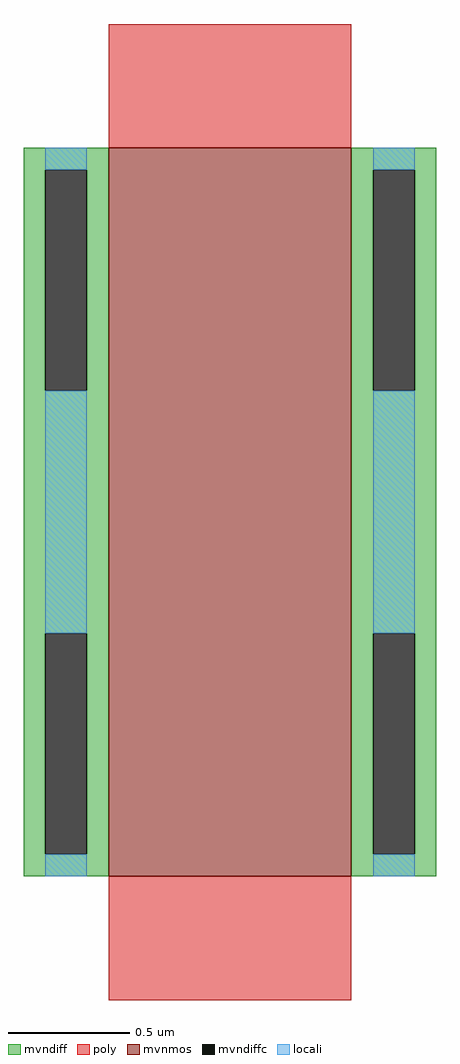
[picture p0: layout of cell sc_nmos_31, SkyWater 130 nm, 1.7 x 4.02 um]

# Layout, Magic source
magic
tech sky130A
<< mvnmos >>
rect 225 601 325 901
<< mvndiff >>
rect 190 892 225 901
rect 190 801 199 892
rect 216 801 225 892
rect 190 701 225 801
rect 190 610 199 701
rect 216 610 225 701
rect 190 601 225 610
rect 325 892 360 901
rect 325 801 334 892
rect 351 801 360 892
rect 325 701 360 801
rect 325 610 334 701
rect 351 610 360 701
rect 325 601 360 610
<< mvndiffc >>
rect 199 801 216 892
rect 199 610 216 701
rect 334 801 351 892
rect 334 610 351 701
<< poly >>
rect 225 901 325 952
rect 225 550 325 601
<< locali >>
rect 199 892 216 901
rect 199 701 216 801
rect 199 601 216 610
rect 334 892 351 901
rect 334 701 351 801
rect 334 601 351 610
<< end >>
